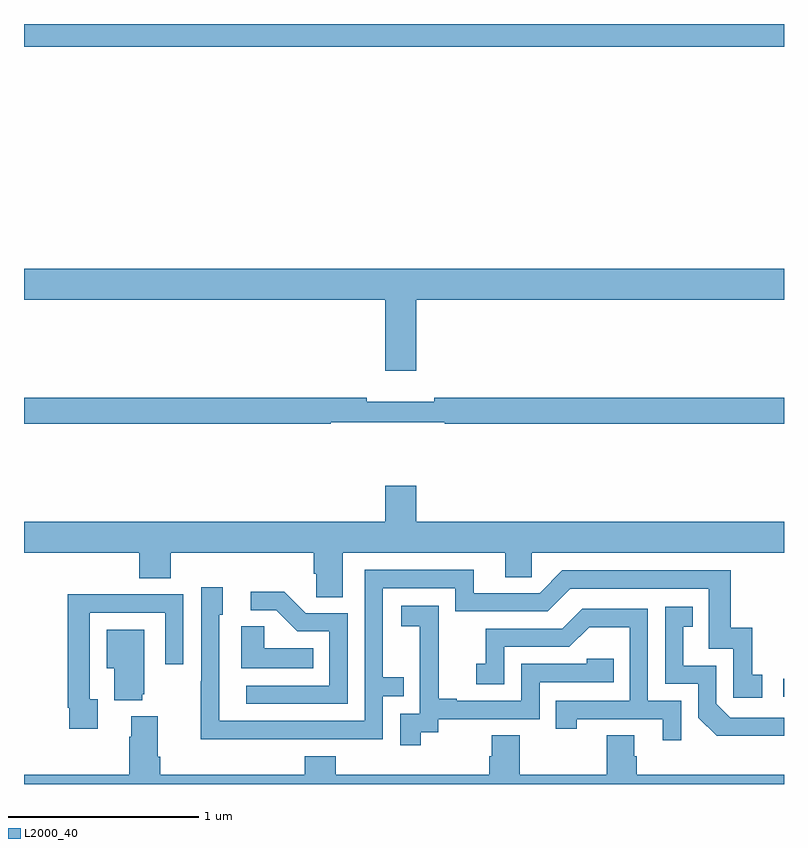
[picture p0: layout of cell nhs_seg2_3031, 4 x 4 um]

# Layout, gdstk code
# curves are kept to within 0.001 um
import gdstk
lib = gdstk.Library(unit=1e-6, precision=1e-09)
def R(c, l, rs):  # rectangles x0, y0, x1, y1
    for r in rs: c.add(gdstk.rectangle(r[:2], r[2:], *l))
def P(c, l, *ps):  # polygons
    for p in ps: c.add(gdstk.Polygon(p, *l))
L2000_40 = (2000, 40)

nhs_seg2_3031 = lib.new_cell('nhs_seg2_3031')
R(nhs_seg2_3031, L2000_40, [(274.995,600.258,275,600.354), (271,603.68,275,603.8)])
P(nhs_seg2_3031, L2000_40, [(273.064,602.348),(275,602.348),(275,602.512),(271,602.512),(271,602.348),(272.9,602.348),(272.9,601.974),(273.064,601.974)],
  [(272.614,601.704),(273.214,601.704),(273.214,601.696),(275,601.696),(275,601.832),(273.16,601.832),(273.16,601.813),(272.804,601.813),(272.804,601.832),(271,601.832),(271,601.696),(272.614,601.696)],
  [(272.677,601.016),(273.533,601.016),(273.533,600.889),(273.672,600.889),(273.672,601.016),(275,601.016),(275,601.18),(273.064,601.18),(273.064,601.369),(272.9,601.369),(272.9,601.18),(271,601.18),(271,601.016),(271.607,601.016),(271.607,600.883),(271.772,600.883),(271.772,601.016),(272.525,601.016),(272.525,600.907),(272.538,600.907),(272.538,600.784),(272.677,600.784)],
  [(272.393,600.036),(272.889,600.036),(272.889,600.261),(272.999,600.261),(272.999,600.362),(272.889,600.362),(272.889,600.831),(273.27,600.831),(273.27,600.708),(273.756,600.708),(273.876,600.828),(274.605,600.828),(274.605,600.513),(274.734,600.513),(274.734,600.255),(274.885,600.255),(274.885,600.375),(274.832,600.375),(274.832,600.622),(274.721,600.622),(274.721,600.924),(273.834,600.924),(273.714,600.804),(273.367,600.804),(273.367,600.927),(272.793,600.927),(272.793,600.132),(272.028,600.132),(272.028,600.69),(272.047,600.69),(272.047,600.835),(271.932,600.835),(271.932,600.341),(271.93,600.341),(271.93,600.035)],
  [(272.703,600.699),(272.484,600.699),(272.371,600.812),(272.193,600.812),(272.193,600.714),(272.327,600.714),(272.438,600.603),(272.607,600.603),(272.607,600.318),(272.169,600.318),(272.169,600.222),(272.703,600.222)],
  [(271.387,600.246),(271.347,600.246),(271.347,600.702),(271.743,600.702),(271.743,600.429),(271.839,600.429),(271.839,600.798),(271.523,600.798),(271.523,600.8),(271.231,600.8),(271.231,600.202),(271.239,600.202),(271.239,600.09),(271.387,600.09)],
  [(273.088,600.073),(273.18,600.073),(273.18,600.141),(273.714,600.141),(273.714,600.336),(274.103,600.336),(274.103,600.459),(273.963,600.459),(273.963,600.432),(273.618,600.432),(273.618,600.237),(273.277,600.237),(273.277,600.25),(273.182,600.25),(273.182,600.533),(273.183,600.533),(273.183,600.739),(272.985,600.739),(272.985,600.629),(273.083,600.629),(273.083,600.401),(273.084,600.401),(273.084,600.171),(272.979,600.171),(272.979,600.003),(273.088,600.003)],
  [(275,600.15),(274.716,600.15),(274.644,600.222),(274.644,600.423),(274.471,600.423),(274.471,600.627),(274.52,600.627),(274.52,600.733),(274.374,600.733),(274.374,600.327),(274.548,600.327),(274.548,600.15),(274.646,600.053),(275,600.053)],
  [(274.458,600.237),(274.284,600.237),(274.284,600.723),(273.938,600.723),(273.833,600.618),(273.43,600.618),(273.43,600.433),(273.381,600.433),(273.381,600.324),(273.528,600.324),(273.528,600.522),(273.87,600.522),(273.974,600.626),(274.188,600.626),(274.188,600.237),(273.799,600.237),(273.799,600.09),(273.91,600.09),(273.91,600.141),(274.361,600.141),(274.361,600.03),(274.458,600.03)],
  [(272.522,600.514),(272.265,600.514),(272.265,600.629),(272.144,600.629),(272.144,600.41),(272.522,600.41)],
  [(271.622,600.273),(271.633,600.273),(271.633,600.613),(271.436,600.613),(271.436,600.41),(271.475,600.41),(271.475,600.242),(271.622,600.242)],
  [(275,599.848),(274.226,599.848),(274.226,599.946),(274.213,599.946),(274.213,600.056),(274.066,600.056),(274.066,599.848),(273.609,599.848),(273.609,600.056),(273.461,600.056),(273.461,599.946),(273.449,599.946),(273.449,599.848),(272.642,599.848),(272.642,599.947),(272.477,599.947),(272.477,599.848),(271.718,599.848),(271.718,599.944),(271.705,599.944),(271.705,600.157),(271.565,600.157),(271.565,600.05),(271.553,600.05),(271.553,599.848),(271,599.848),(271,599.8),(275,599.8)])

lib.write_gds('nhs_seg2_3031.gds')
